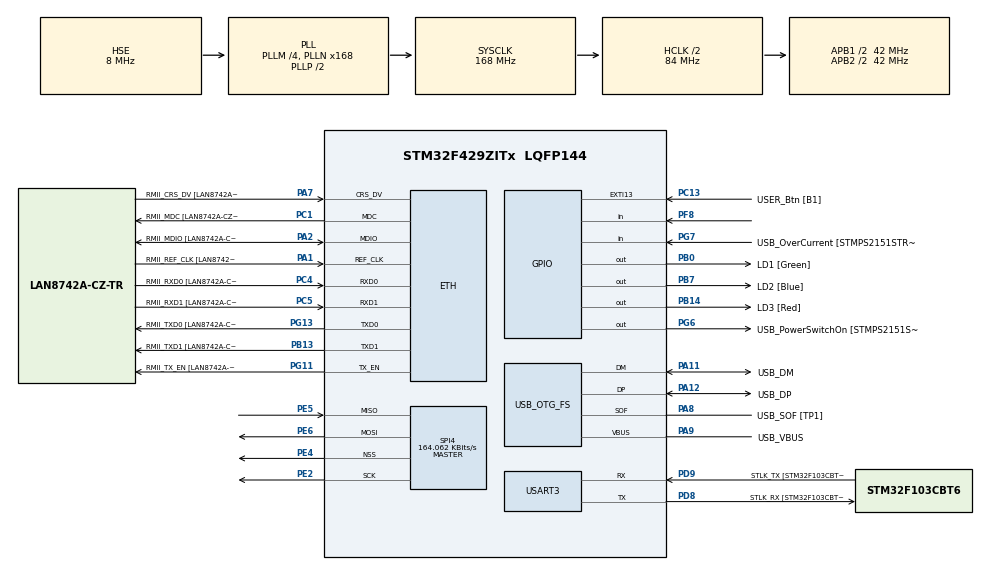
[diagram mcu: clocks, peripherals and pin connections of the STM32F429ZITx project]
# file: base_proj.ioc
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ETH.MediaInterface=HAL_ETH_RMII_MODE
ETH.PHY_Name=LAN8742A_PHY_ADDRESS
ETH.PHY_Value=0
ETH.PhyAddress=0
Mcu.Family=STM32F4
Mcu.Name=STM32F429ZITx
Mcu.Package=LQFP144
NVIC.EXTI15_10_IRQn=true\:0\:0\:false\:false\:true\:true\:true\:true
NVIC.PriorityGroup=NVIC_PRIORITYGROUP_4
PA1.GPIO_Label=RMII_REF_CLK [LAN8742A-CZ-TR_REFCLK0]
PA1.Mode=RMII
PA1.Signal=ETH_REF_CLK
PA10.GPIO_Label=USB_ID
PA10.Signal=USB_OTG_FS_ID
PA11.GPIO_Label=USB_DM
PA11.Mode=Device_Only
PA11.Signal=USB_OTG_FS_DM
PA12.GPIO_Label=USB_DP
PA12.Mode=Device_Only
PA12.Signal=USB_OTG_FS_DP
PA13.GPIO_Label=TMS
PA13.Mode=Serial_Wire
PA13.Signal=SYS_JTMS-SWDIO
PA14.GPIO_Label=TCK
PA14.Mode=Serial_Wire
PA14.Signal=SYS_JTCK-SWCLK
PA2.GPIO_Label=RMII_MDIO [LAN8742A-CZ-TR_MDIO]
PA2.Mode=RMII
PA2.Signal=ETH_MDIO
PA7.GPIO_Label=RMII_CRS_DV [LAN8742A-CZ-TR_CRS_DV]
PA7.Mode=RMII
PA7.Signal=ETH_CRS_DV
PA8.GPIO_Label=USB_SOF [TP1]
PA8.Mode=Activate_SOF_FS
PA8.Signal=USB_OTG_FS_SOF
PA9.GPIO_Label=USB_VBUS
PA9.Mode=Activate_VBUS
PA9.Signal=USB_OTG_FS_VBUS
PB0.GPIO_Label=LD1 [Green]
PB0.Signal=GPIO_Output
PB13.GPIO_Label=RMII_TXD1 [LAN8742A-CZ-TR_TXD1]
PB13.Mode=RMII
PB13.Signal=ETH_TXD1
PB14.GPIO_Label=LD3 [Red]
PB14.Signal=GPIO_Output
PB7.GPIO_Label=LD2 [Blue]
PB7.Signal=GPIO_Output
PC1.GPIO_Label=RMII_MDC [LAN8742A-CZ-TR_MDC]
PC1.Mode=RMII
PC1.Signal=ETH_MDC
PC13.GPIO_Label=USER_Btn [B1]
PC13.GPIO_ModeDefaultEXTI=GPIO_MODE_IT_FALLING
PC13.Signal=GPXTI13
PC14/OSC32_IN.Mode=LSE-External-Oscillator
PC14/OSC32_IN.Signal=RCC_OSC32_IN
PC15/OSC32_OUT.Mode=LSE-External-Oscillator
PC15/OSC32_OUT.Signal=RCC_OSC32_OUT
PC4.GPIO_Label=RMII_RXD0 [LAN8742A-CZ-TR_RXD0]
PC4.Mode=RMII
PC4.Signal=ETH_RXD0
PC5.GPIO_Label=RMII_RXD1 [LAN8742A-CZ-TR_RXD1]
PC5.Mode=RMII
PC5.Signal=ETH_RXD1
PD8.GPIO_Label=STLK_RX [STM32F103CBT6_PA3]
PD8.Mode=Asynchronous
PD8.Signal=USART3_TX
PD9.GPIO_Label=STLK_TX [STM32F103CBT6_PA2]
PD9.Mode=Asynchronous
PD9.Signal=USART3_RX
PE2.Mode=Full_Duplex_Master
PE2.Signal=SPI4_SCK
PE4.Mode=NSS_Signal_Hard_Output
PE4.Signal=SPI4_NSS
PE5.Mode=Full_Duplex_Master
PE5.Signal=SPI4_MISO
PE6.Mode=Full_Duplex_Master
PE6.Signal=SPI4_MOSI
PF8.Signal=GPIO_Input
PG11.GPIO_Label=RMII_TX_EN [LAN8742A-CZ-TR_TXEN]
PG11.Mode=RMII
PG11.Signal=ETH_TX_EN
PG13.GPIO_Label=RMII_TXD0 [LAN8742A-CZ-TR_TXD0]
PG13.Mode=RMII
PG13.Signal=ETH_TXD0
PG6.GPIO_Label=USB_PowerSwitchOn [STMPS2151STR_EN]
PG6.Signal=GPIO_Output
PG7.GPIO_Label=USB_OverCurrent [STMPS2151STR_FAULT]
PG7.Signal=GPIO_Input
PH0/OSC_IN.GPIO_Label=MCO [STM32F103CBT6_PA8]
PH0/OSC_IN.Mode=HSE-External-Clock-Source
PH0/OSC_IN.Signal=RCC_OSC_IN
PH1/OSC_OUT.Mode=HSE-External-Clock-Source
PH1/OSC_OUT.Signal=RCC_OSC_OUT
ProjectManager.HeapSize=0x200
ProjectManager.StackSize=0x400
ProjectManager.TargetToolchain=STM32CubeIDE
RCC.48MHZClocksFreq_Value=48000000
RCC.AHBCLKDivider=RCC_SYSCLK_DIV2
RCC.AHBFreq_Value=84000000
RCC.APB1CLKDivider=RCC_HCLK_DIV2
RCC.APB1Freq_Value=42000000
RCC.APB1TimFreq_Value=84000000
RCC.APB2CLKDivider=RCC_HCLK_DIV2
RCC.APB2Freq_Value=42000000
RCC.APB2TimFreq_Value=84000000
RCC.CortexFreq_Value=84000000
RCC.HCLKFreq_Value=84000000
RCC.HSE_VALUE=8000000
RCC.HSI_VALUE=16000000
RCC.PLLM=4
RCC.PLLMUL=RCC_PLL_MUL9
RCC.PLLN=168
RCC.PLLQ=7
RCC.PRESCALERUSB=RCC_USBCLKSOURCE_PLL_DIV1_5
RCC.SYSCLKFreq_VALUE=168000000
RCC.SYSCLKSource=RCC_SYSCLKSOURCE_PLLCLK
RCC.SYSCLKSourceVirtual=RCC_SYSCLKSOURCE_PLLCLK
RCC.USBFreq_Value=48000000
RCC.VCOOutputFreq_Value=336000000
SPI4.BaudRatePrescaler=SPI_BAUDRATEPRESCALER_256
SPI4.CLKPhase=SPI_PHASE_2EDGE
SPI4.CalculateBaudRate=164.062 KBits/s
SPI4.Direction=SPI_DIRECTION_2LINES
SPI4.Mode=SPI_MODE_MASTER
SPI4.TIMode=SPI_TIMODE_DISABLE
SPI4.VirtualNSS=VM_NSSHARD
SPI4.VirtualType=VM_MASTER
USART3.VirtualMode=VM_ASYNC
USB_OTG_FS.VirtualMode=Device_Only
board=NUCLEO-F429ZI

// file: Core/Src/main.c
/* USER CODE BEGIN Header */
/**
  ******************************************************************************
  * @file           : main.c
  * @brief          : Main program body
  ******************************************************************************
  * @attention
  *
  * Copyright (c) 2022 STMicroelectronics.
  * All rights reserved.
  *
  * This software is licensed under terms that can be found in the LICENSE file
  * in the root directory of this software component.
  * If no LICENSE file comes with this software, it is provided AS-IS.
  *
  ******************************************************************************
  */
/* USER CODE END Header */
#include "main.h"
#include "string.h"

/* USER CODE BEGIN PD */
/***************************** Definiciones de pines ***********************************/
#define     ADS1018_SPI_CLK             (0x0001)    // P3.0 Output: CLK para ADS1018
#define     ADS1018_SPI_SIMO            (0x0010)    // P3.4 Output: SIMO para ADS1018
#define     ADS1018_SPI_SOMI            (0x0020)    // P3.5 Input: SOMI para ADS1018
#define     ADS1018_SPI_SS              (0x0008)    // P4.3 Output: SS para ADS1018
#define     ADS1018_DRY                 (0x0008)    // P2.3 Input: DRY para ADS1018

#define     ADS1018_CFG_SS              (0x8000)
#define     ADS1018_CFG_CH1             (0x0000)
#define     ADS1018_CFG_CH2             (0x3000)
#define     ADS1018_CFG_TINT            (0x0010)
#define     ADS1018_CFG_PGA             (0x0E00)
#define     ADS1018_CFG_MODE            (0x0100)
#define     ADS1018_CFG_DR              (0x00A0)
#define     ADS1018_CFG_PU_EN           (0x0008)
#define     ADS1018_CFG_NOP             (0x0002)
#define     ADS1018_CFG_RSV             (0x0001)
/* USER CODE END PD */

ETH_TxPacketConfig TxConfig;
ETH_DMADescTypeDef  DMARxDscrTab[ETH_RX_DESC_CNT]; /* Ethernet Rx DMA Descriptors */
ETH_DMADescTypeDef  DMATxDscrTab[ETH_TX_DESC_CNT]; /* Ethernet Tx DMA Descriptors */

ETH_HandleTypeDef heth;

SPI_HandleTypeDef hspi4;

UART_HandleTypeDef huart3;

PCD_HandleTypeDef hpcd_USB_OTG_FS;

void SystemClock_Config(void);
static void MX_GPIO_Init(void);
static void MX_ETH_Init(void);
static void MX_USART3_UART_Init(void);
static void MX_USB_OTG_FS_PCD_Init(void);
static void MX_SPI4_Init(void);
/* USER CODE BEGIN PFP */
void leer_adc(uint8_t *data);

/* ADS_BSP */
bool init_ads_spi(void);
uint8_t tx_rx_spi(uint8_t configByte);

/* COMM_BSP */
bool init_uart(void);
bool tx_uart(uint8_t *dataBuffer, uint8_t buffSize);
bool rx_uart(uint8_t *dataBuffer, uint8_t buffSize);

/* ADS1018 */
bool init_ads(void);
uint8_t read_ads(uint8_t *dataBuffer, uint8_t buffSize);

/* SENS_COMM */
bool init_comm(void);
bool tx_data(uint8_t *dataBuffer);
bool rx_data(uint8_t *dataBuffer, uint8_t buffSize);

/* USER CODE END PFP */

int main(void)
{
  /* USER CODE BEGIN 1 */
	unsigned char MSP_Access_Data[6] = { 0 };
	uint16_t tin, tc1, tc2;
  /* USER CODE END 1 */

  /* MCU Configuration--------------------------------------------------------*/

  /* Reset of all peripherals, Initializes the Flash interface and the Systick. */
  HAL_Init();

  /* Configure the system clock */
  SystemClock_Config();

  /* Initialize all configured peripherals */
  MX_GPIO_Init();
  MX_ETH_Init();
  MX_USART3_UART_Init();
  MX_USB_OTG_FS_PCD_Init();
  MX_SPI4_Init();

  /* Infinite loop */
  /* USER CODE BEGIN WHILE */
  while (1)
  {
	  leer_adc(MSP_Access_Data);
	  tin = (MSP_Access_Data[5] >> 4) + (((uint16_t)MSP_Access_Data[4]) << 4);
	  tc1 = (MSP_Access_Data[3] >> 4) + (((uint16_t)MSP_Access_Data[2]) << 4);
	  tc2 = (MSP_Access_Data[6] >> 1) + (((uint16_t)MSP_Access_Data[5]) << 0);
	  HAL_UART_Transmit(&huart3, MSP_Access_Data, 6, 0xFFFF);
	  //HAL_UART_Transmit(&huart3, "\r\n", 2, 0xFFFF);

	  HAL_Delay(1000);
    /* USER CODE END WHILE */

  }
}

void SystemClock_Config(void)
{
  RCC_OscInitTypeDef RCC_OscInitStruct = {0};
  RCC_ClkInitTypeDef RCC_ClkInitStruct = {0};

  /** Configure the main internal regulator output voltage
  */
  __HAL_RCC_PWR_CLK_ENABLE();
  __HAL_PWR_VOLTAGESCALING_CONFIG(PWR_REGULATOR_VOLTAGE_SCALE3);

  /** Initializes the RCC Oscillators according to the specified parameters
  * in the RCC_OscInitTypeDef structure.
  */
  RCC_OscInitStruct.OscillatorType = RCC_OSCILLATORTYPE_HSE;
  RCC_OscInitStruct.HSEState = RCC_HSE_BYPASS;
  RCC_OscInitStruct.PLL.PLLState = RCC_PLL_ON;
  RCC_OscInitStruct.PLL.PLLSource = RCC_PLLSOURCE_HSE;
  RCC_OscInitStruct.PLL.PLLM = 4;
  RCC_OscInitStruct.PLL.PLLN = 168;
  RCC_OscInitStruct.PLL.PLLP = RCC_PLLP_DIV2;
  RCC_OscInitStruct.PLL.PLLQ = 7;
  if (HAL_RCC_OscConfig(&RCC_OscInitStruct) != HAL_OK)
  {
    Error_Handler();
  }

  /** Initializes the CPU, AHB and APB buses clocks
  */
  RCC_ClkInitStruct.ClockType = RCC_CLOCKTYPE_HCLK|RCC_CLOCKTYPE_SYSCLK
                              |RCC_CLOCKTYPE_PCLK1|RCC_CLOCKTYPE_PCLK2;
  RCC_ClkInitStruct.SYSCLKSource = RCC_SYSCLKSOURCE_PLLCLK;
  RCC_ClkInitStruct.AHBCLKDivider = RCC_SYSCLK_DIV2;
  RCC_ClkInitStruct.APB1CLKDivider = RCC_HCLK_DIV2;
  RCC_ClkInitStruct.APB2CLKDivider = RCC_HCLK_DIV2;

  if (HAL_RCC_ClockConfig(&RCC_ClkInitStruct, FLASH_LATENCY_2) != HAL_OK)
  {
    Error_Handler();
  }
}

static void MX_ETH_Init(void)
{

   static uint8_t MACAddr[6];

  heth.Instance = ETH;
  MACAddr[0] = 0x00;
  MACAddr[1] = 0x80;
  MACAddr[2] = 0xE1;
  MACAddr[3] = 0x00;
  MACAddr[4] = 0x00;
  MACAddr[5] = 0x00;
  heth.Init.MACAddr = &MACAddr[0];
  heth.Init.MediaInterface = HAL_ETH_RMII_MODE;
  heth.Init.TxDesc = DMATxDscrTab;
  heth.Init.RxDesc = DMARxDscrTab;
  heth.Init.RxBuffLen = 1524;

  if (HAL_ETH_Init(&heth) != HAL_OK)
  {
    Error_Handler();
  }

  memset(&TxConfig, 0 , sizeof(ETH_TxPacketConfig));
  TxConfig.Attributes = ETH_TX_PACKETS_FEATURES_CSUM | ETH_TX_PACKETS_FEATURES_CRCPAD;
  TxConfig.ChecksumCtrl = ETH_CHECKSUM_IPHDR_PAYLOAD_INSERT_PHDR_CALC;
  TxConfig.CRCPadCtrl = ETH_CRC_PAD_INSERT;

}

static void MX_SPI4_Init(void)
{

  /* SPI4 parameter configuration*/
  hspi4.Instance = SPI4;
  hspi4.Init.Mode = SPI_MODE_MASTER;
  hspi4.Init.Direction = SPI_DIRECTION_2LINES;
  hspi4.Init.DataSize = SPI_DATASIZE_8BIT;
  hspi4.Init.CLKPolarity = SPI_POLARITY_LOW;
  hspi4.Init.CLKPhase = SPI_PHASE_2EDGE;
  hspi4.Init.NSS = SPI_NSS_HARD_OUTPUT;
  hspi4.Init.BaudRatePrescaler = SPI_BAUDRATEPRESCALER_256;
  hspi4.Init.FirstBit = SPI_FIRSTBIT_MSB;
  hspi4.Init.TIMode = SPI_TIMODE_DISABLE;
  hspi4.Init.CRCCalculation = SPI_CRCCALCULATION_DISABLE;
  hspi4.Init.CRCPolynomial = 10;
  if (HAL_SPI_Init(&hspi4) != HAL_OK)
  {
    Error_Handler();
  }

}

static void MX_USART3_UART_Init(void)
{

  huart3.Instance = USART3;
  huart3.Init.BaudRate = 115200;
  huart3.Init.WordLength = UART_WORDLENGTH_8B;
  huart3.Init.StopBits = UART_STOPBITS_1;
  huart3.Init.Parity = UART_PARITY_NONE;
  huart3.Init.Mode = UART_MODE_TX_RX;
  huart3.Init.HwFlowCtl = UART_HWCONTROL_NONE;
  huart3.Init.OverSampling = UART_OVERSAMPLING_16;
  if (HAL_UART_Init(&huart3) != HAL_OK)
  {
    Error_Handler();
  }

}

static void MX_USB_OTG_FS_PCD_Init(void)
{

  hpcd_USB_OTG_FS.Instance = USB_OTG_FS;
  hpcd_USB_OTG_FS.Init.dev_endpoints = 4;
  hpcd_USB_OTG_FS.Init.speed = PCD_SPEED_FULL;
  hpcd_USB_OTG_FS.Init.dma_enable = DISABLE;
  hpcd_USB_OTG_FS.Init.phy_itface = PCD_PHY_EMBEDDED;
  hpcd_USB_OTG_FS.Init.Sof_enable = ENABLE;
  hpcd_USB_OTG_FS.Init.low_power_enable = DISABLE;
  hpcd_USB_OTG_FS.Init.lpm_enable = DISABLE;
  hpcd_USB_OTG_FS.Init.vbus_sensing_enable = ENABLE;
  hpcd_USB_OTG_FS.Init.use_dedicated_ep1 = DISABLE;
  if (HAL_PCD_Init(&hpcd_USB_OTG_FS) != HAL_OK)
  {
    Error_Handler();
  }

}

static void MX_GPIO_Init(void)
{
  GPIO_InitTypeDef GPIO_InitStruct = {0};

  /* GPIO Ports Clock Enable */
  __HAL_RCC_GPIOE_CLK_ENABLE();
  __HAL_RCC_GPIOC_CLK_ENABLE();
  __HAL_RCC_GPIOF_CLK_ENABLE();
  __HAL_RCC_GPIOH_CLK_ENABLE();
  __HAL_RCC_GPIOA_CLK_ENABLE();
  __HAL_RCC_GPIOB_CLK_ENABLE();
  __HAL_RCC_GPIOD_CLK_ENABLE();
  __HAL_RCC_GPIOG_CLK_ENABLE();

  /*Configure GPIO pin Output Level */
  HAL_GPIO_WritePin(GPIOB, LD1_Pin|LD3_Pin|LD2_Pin, GPIO_PIN_RESET);

  /*Configure GPIO pin Output Level */
  HAL_GPIO_WritePin(USB_PowerSwitchOn_GPIO_Port, USB_PowerSwitchOn_Pin, GPIO_PIN_RESET);

  /*Configure GPIO pin : USER_Btn_Pin */
  GPIO_InitStruct.Pin = USER_Btn_Pin;
  GPIO_InitStruct.Mode = GPIO_MODE_IT_RISING;
  GPIO_InitStruct.Pull = GPIO_NOPULL;
  HAL_GPIO_Init(USER_Btn_GPIO_Port, &GPIO_InitStruct);

  /*Configure GPIO pin : PF8 */
  GPIO_InitStruct.Pin = GPIO_PIN_8;
  GPIO_InitStruct.Mode = GPIO_MODE_INPUT;
  GPIO_InitStruct.Pull = GPIO_NOPULL;
  HAL_GPIO_Init(GPIOF, &GPIO_InitStruct);

  /*Configure GPIO pins : LD1_Pin LD3_Pin LD2_Pin */
  GPIO_InitStruct.Pin = LD1_Pin|LD3_Pin|LD2_Pin;
  GPIO_InitStruct.Mode = GPIO_MODE_OUTPUT_PP;
  GPIO_InitStruct.Pull = GPIO_NOPULL;
  GPIO_InitStruct.Speed = GPIO_SPEED_FREQ_LOW;
  HAL_GPIO_Init(GPIOB, &GPIO_InitStruct);

  /*Configure GPIO pin : USB_PowerSwitchOn_Pin */
  GPIO_InitStruct.Pin = USB_PowerSwitchOn_Pin;
  GPIO_InitStruct.Mode = GPIO_MODE_OUTPUT_PP;
  GPIO_InitStruct.Pull = GPIO_NOPULL;
  GPIO_InitStruct.Speed = GPIO_SPEED_FREQ_LOW;
  HAL_GPIO_Init(USB_PowerSwitchOn_GPIO_Port, &GPIO_InitStruct);

  /*Configure GPIO pin : USB_OverCurrent_Pin */
  GPIO_InitStruct.Pin = USB_OverCurrent_Pin;
  GPIO_InitStruct.Mode = GPIO_MODE_INPUT;
  GPIO_InitStruct.Pull = GPIO_NOPULL;
  HAL_GPIO_Init(USB_OverCurrent_GPIO_Port, &GPIO_InitStruct);

}

/* USER CODE BEGIN 4 */
void leer_adc(uint8_t *data) {

	// TODO: cargar palabras de configuraci�n para el ADC
	uint16_t configADC[4] = { ADS1018_CFG_SS | ADS1018_CFG_CH2 | ADS1018_CFG_PGA
			| ADS1018_CFG_MODE | ADS1018_CFG_DR | ADS1018_CFG_PU_EN
			| ADS1018_CFG_NOP | ADS1018_CFG_RSV,
	ADS1018_CFG_SS | ADS1018_CFG_CH1 | ADS1018_CFG_PGA | ADS1018_CFG_MODE
			| ADS1018_CFG_DR | ADS1018_CFG_PU_EN | ADS1018_CFG_NOP
			| ADS1018_CFG_RSV,
	ADS1018_CFG_SS | ADS1018_CFG_TINT | ADS1018_CFG_PGA | ADS1018_CFG_MODE
			| ADS1018_CFG_DR | ADS1018_CFG_PU_EN | ADS1018_CFG_NOP
			| ADS1018_CFG_RSV, 0x0001 };
	uint8_t i, j;
	uint8_t dummy[3]= {0};

	uint8_t configADCinv[8] = {0};
	for (i = 0; i < 4; i++){
		configADCinv[i*2] = (uint8_t)(configADC[i] >> 8);
		configADCinv[(i*2)+1] = (uint8_t)(configADC[i]);
	}

	/* Env�o la primera palabra de configuraci�n y descarto el dato recibido */
	//SPI_Tx_Rx(configADC[0] >> 8);     // MSB
	//SPI_Tx_Rx(configADC[0]);          // LSB
	HAL_SPI_TransmitReceive(&hspi4, configADCinv, dummy, 2, 0xFFFFFFFF );

	__HAL_SPI_DISABLE(&hspi4);
	for (j = 0; j < 20; j++)
		;
	__HAL_SPI_ENABLE(&hspi4);

	/* Env�o de las sucesivas palabras de configuraci�n y recuperaci�n de los datos �tiles */

	for (i = 0; i < 3; i++) {
		// Espero que indique dato nuevo disponible
		while (HAL_GPIO_ReadPin(GPIOF, GPIO_PIN_8) == 0)
			;
		//while (GPIO_getInputPinValue(GPIO_PORT_P1, GPIO_PIN4)	== GPIO_INPUT_PIN_HIGH)
		while (HAL_GPIO_ReadPin(GPIOF, GPIO_PIN_8) == 1)
			;

		//data[(i * 2) + 1] = SPI_Tx_Rx(configADC[i + 1] >> 8);
		//data[(i * 2)] = SPI_Tx_Rx(configADC[i + 1]);
		HAL_SPI_TransmitReceive(&hspi4, &configADCinv[(i+1)*2], (data+(i*2)), 2, 0xFFFFFFFF );

		__HAL_SPI_DISABLE(&hspi4);
		for (j = 0; j < 20; j++)
			;
		__HAL_SPI_ENABLE(&hspi4);
	}
	__HAL_SPI_DISABLE(&hspi4);
}
/* USER CODE END 4 */

void Error_Handler(void)
{
  __disable_irq();
  while (1)
  {
  }
}
